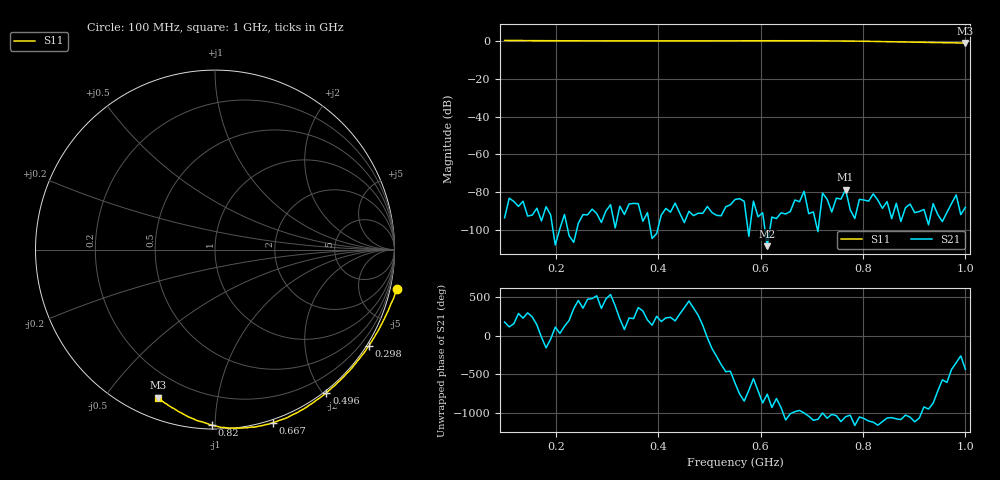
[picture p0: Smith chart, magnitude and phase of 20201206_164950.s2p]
# HZ S RI R 50
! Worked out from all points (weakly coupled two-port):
!   101 points, 100 MHz to 1 GHz, reference 50 ohm
!   highest |S21| = -78.58 dB at 766 MHz (marker M1); lowest = -108.5 dB at 613 MHz (marker M2)
!   lowest |S11| = -1.1 dB at 1 GHz (marker M3), VSWR 16.31, Z = 4.51 - j34.2 ohm
!   |S11| at or under -10 dB: nowhere
!   S12 and S22 are empty: the file has one direction only
!   S11 on the Smith chart (normalised r, x): 100 MHz: -1.53, -9.09; 298 MHz: -0.07, -3.48; 496 MHz: -0.03, -2.04; 667 MHz: -0.02, -1.39; 820 MHz: 0.02, -0.98; 1 GHz: 0.09, -0.68
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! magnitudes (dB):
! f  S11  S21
! 100 MHz  0.3  -93.5
! 154 MHz  0.2  -92.1
! 253 MHz  0.1  -91.8
! 298 MHz  0.1  -89.8
! 406 MHz  0.1  -92.0
! 496 MHz  0.1  -87.5
! 550 MHz  0.1  -83.8
! 613 MHz  0.1  -108.5
! 631 MHz  0.2  -93.9
! 667 MHz  0.1  -84.1
! 676 MHz  0.1  -85.0
! 685 MHz  0.1  -79.5
! 694 MHz  0.1  -91.3
! 703 MHz  0.1  -90.4
! 757 MHz  0.0  -83.6
! 766 MHz  0.0  -78.6
! 775 MHz  0.0  -89.2
! 820 MHz  -0.2  -80.8
! 856 MHz  -0.4  -93.9
! 937 MHz  -0.8  -86.0
! 973 MHz  -0.9  -85.9
! 1 GHz  -1.1  -87.9
